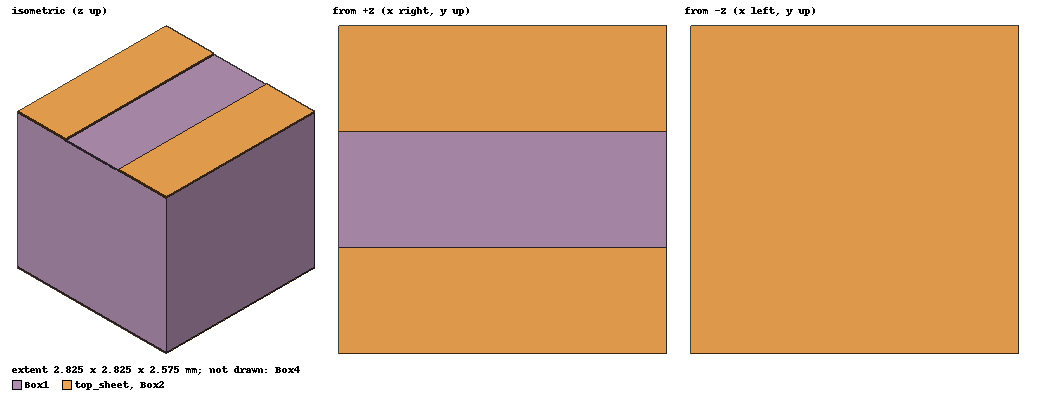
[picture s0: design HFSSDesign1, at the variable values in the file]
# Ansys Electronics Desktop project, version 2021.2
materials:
  vacuum: permittivity=1
  Arlon AD600 (tm): permittivity=6.15 dielectric_loss_tangent=0.003
  copper: permeability=0.999991 conductivity=58000000
  pec: conductivity=1e+30

design HFSSDesign1 (HFSS, DrivenModal, model units mm)
options: Allow_Material_Override
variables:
  length = 10mm
  depth = 2.54mm
  a = 28.25mm
  copp_t = 17.5um
  gap = 1mm
  rad_bound = 20mm
  deembed = rad_bound-(depth+copp_t)
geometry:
  Box1 [Arlon AD600 (tm)] = box(corner=(-a/20, -a/20, copp_t), size=(a/10, a/10, depth))
  Box2 [pec] = box(corner=(-a/20, -a/20, 0), size=(a/10, a/10, copp_t))
  top_sheet [pec] = box(corner=(-a/20, -a/20, copp_t+depth), size=(a/10, a/10, copp_t))
  Box3 = box(corner=(-a/20, -gap/2, depth+copp_t), size=(a/10, gap, copp_t))
  top_sheet.subtract(Box3)
  Box4 [vacuum] = box(corner=(-a/20, -a/20, 0mm), size=(a/10, a/10, rad_bound))
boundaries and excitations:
  PMC: Perfect H Faces=Box4.face(+x, -x)
  PEC: Perfect E Faces=Box4.face(+y, -y)
  1: Wave Port Faces=Box4.face(+z) NumModes=1 Modes{Mode1{IntLine{middle of Box4.edge(4 of 12) -> middle of Box4.edge(2 of 12)} CharImp=Zwave}}
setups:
  Setup1: HfssDriven Frequency=10GHz MaxDeltaS=0.005 MaximumPasses=20 MinimumPasses=4 MinimumConvergedPasses=2 PercentRefinement=20 BasisOrder=-1 PortAccuracy=2 ConstantDelta=0s
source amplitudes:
  1:1: 1W 0deg
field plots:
  Mag_E1, Vector_E1: E Field in Box4 on Setup1 : LastAdaptive at Freq=10GHz Phase=0deg
  Mag_E2: E Field over Box4.face(+x) on Setup1 : LastAdaptive at Freq=10GHz Phase=0deg
  Vector_H1: H Field in Box4 on Setup1 : LastAdaptive at Freq=10GHz Phase=0deg
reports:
  Z Parameter Plot 1: re(Z(1,1)), im(Z(1,1)) vs Freq on Setup1 : LastAdaptive; markers m1 at 10GHz, m2 at 10GHz
  S Parameter Plot 1: re(S(1,1)) vs Freq on Setup1 : LastAdaptive [rad_bound=20mm]; im(S(1,1)) vs Freq on Setup1 : LastAdaptive [rad_bound=50mm]; markers m1 at 10GHz, m2 at 10GHz
  S Parameter Plot 2: re(S(1,1)), im(S(1,1)) vs Freq on Setup1 : LastAdaptive [rad_bound=30mm]; markers m1 at 10GHz, m2 at 10GHz
